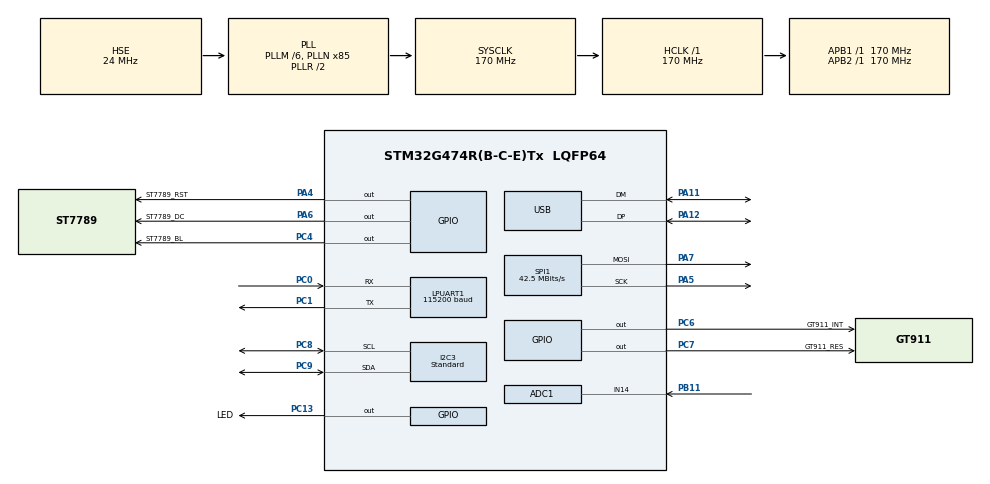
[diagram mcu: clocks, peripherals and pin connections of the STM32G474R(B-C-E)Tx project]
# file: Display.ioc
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ADC1.Channel-0\#ChannelRegularConversion=ADC_CHANNEL_14
ADC1.NbrOfConversionFlag=1
ADC1.OffsetNumber-0\#ChannelRegularConversion=ADC_OFFSET_NONE
ADC1.Rank-0\#ChannelRegularConversion=1
ADC1.SamplingTime-0\#ChannelRegularConversion=ADC_SAMPLETIME_2CYCLES_5
ADC1.master=1
Dma.LPUART1_TX.1.Direction=DMA_MEMORY_TO_PERIPH
Dma.LPUART1_TX.1.EventEnable=DISABLE
Dma.LPUART1_TX.1.Instance=DMA1_Channel2
Dma.LPUART1_TX.1.MemDataAlignment=DMA_MDATAALIGN_BYTE
Dma.LPUART1_TX.1.MemInc=DMA_MINC_ENABLE
Dma.LPUART1_TX.1.Mode=DMA_NORMAL
Dma.LPUART1_TX.1.PeriphDataAlignment=DMA_PDATAALIGN_BYTE
Dma.LPUART1_TX.1.PeriphInc=DMA_PINC_DISABLE
Dma.LPUART1_TX.1.Polarity=HAL_DMAMUX_REQ_GEN_RISING
Dma.LPUART1_TX.1.Priority=DMA_PRIORITY_VERY_HIGH
Dma.LPUART1_TX.1.RequestNumber=1
Dma.LPUART1_TX.1.SignalID=NONE
Dma.LPUART1_TX.1.SyncEnable=DISABLE
Dma.LPUART1_TX.1.SyncPolarity=HAL_DMAMUX_SYNC_NO_EVENT
Dma.LPUART1_TX.1.SyncRequestNumber=1
Dma.LPUART1_TX.1.SyncSignalID=NONE
Dma.Request0=SPI1_TX
Dma.Request1=LPUART1_TX
Dma.SPI1_TX.0.Direction=DMA_MEMORY_TO_PERIPH
Dma.SPI1_TX.0.EventEnable=DISABLE
Dma.SPI1_TX.0.Instance=DMA1_Channel1
Dma.SPI1_TX.0.MemDataAlignment=DMA_MDATAALIGN_BYTE
Dma.SPI1_TX.0.MemInc=DMA_MINC_ENABLE
Dma.SPI1_TX.0.Mode=DMA_NORMAL
Dma.SPI1_TX.0.PeriphDataAlignment=DMA_PDATAALIGN_BYTE
Dma.SPI1_TX.0.PeriphInc=DMA_PINC_DISABLE
Dma.SPI1_TX.0.Polarity=HAL_DMAMUX_REQ_GEN_RISING
Dma.SPI1_TX.0.Priority=DMA_PRIORITY_HIGH
Dma.SPI1_TX.0.RequestNumber=1
Dma.SPI1_TX.0.SignalID=NONE
Dma.SPI1_TX.0.SyncEnable=DISABLE
Dma.SPI1_TX.0.SyncPolarity=HAL_DMAMUX_SYNC_NO_EVENT
Dma.SPI1_TX.0.SyncRequestNumber=1
Dma.SPI1_TX.0.SyncSignalID=NONE
I2C3.I2C_Speed_Mode=I2C_Standard
I2C3.Timing=0x30A0A7FB
LPUART1.BaudRate=115200
Mcu.Family=STM32G4
Mcu.Name=STM32G474R(B-C-E)Tx
Mcu.Package=LQFP64
NVIC.DMA1_Channel1_IRQn=true\:2\:0\:true\:false\:true\:false\:true\:true
NVIC.DMA1_Channel2_IRQn=true\:4\:0\:true\:false\:true\:false\:true\:true
NVIC.PriorityGroup=NVIC_PRIORITYGROUP_4
NVIC.SPI1_IRQn=true\:1\:0\:true\:false\:true\:true\:true\:true
NVIC.USB_LP_IRQn=true\:0\:0\:false\:false\:true\:false\:true\:true
PA11.Mode=Device
PA11.Signal=USB_DM
PA12.Mode=Device
PA12.Signal=USB_DP
PA13.Mode=Serial_Wire
PA13.Signal=SYS_JTMS-SWDIO
PA14.Mode=Serial_Wire
PA14.Signal=SYS_JTCK-SWCLK
PA4.GPIO_Label=ST7789_RST
PA4.GPIO_PuPd=GPIO_PULLUP
PA4.GPIO_Speed=GPIO_SPEED_FREQ_VERY_HIGH
PA4.Signal=GPIO_Output
PA5.GPIO_PuPd=GPIO_PULLDOWN
PA5.GPIO_Speed=GPIO_SPEED_FREQ_VERY_HIGH
PA5.Mode=TX_Only_Simplex_Unidirect_Master
PA5.Signal=SPI1_SCK
PA6.GPIO_Label=ST7789_DC
PA6.GPIO_PuPd=GPIO_PULLUP
PA6.GPIO_Speed=GPIO_SPEED_FREQ_VERY_HIGH
PA6.PinState=GPIO_PIN_SET
PA6.Signal=GPIO_Output
PA7.GPIO_PuPd=GPIO_PULLDOWN
PA7.GPIO_Speed=GPIO_SPEED_FREQ_VERY_HIGH
PA7.Mode=TX_Only_Simplex_Unidirect_Master
PA7.Signal=SPI1_MOSI
PB11.Signal=SharedAnalog_PB11
PC0.Mode=Asynchronous
PC0.Signal=LPUART1_RX
PC1.Mode=Asynchronous
PC1.Signal=LPUART1_TX
PC13.GPIO_Label=LED
PC13.Signal=GPIO_Output
PC4.GPIO_Label=ST7789_BL
PC4.GPIO_PuPd=GPIO_PULLUP
PC4.Signal=GPIO_Output
PC6.GPIO_Label=GT911_INT
PC6.GPIO_Speed=GPIO_SPEED_FREQ_HIGH
PC6.Signal=GPIO_Output
PC7.GPIO_Label=GT911_RES
PC7.GPIO_PuPd=GPIO_PULLUP
PC7.GPIO_Speed=GPIO_SPEED_FREQ_HIGH
PC7.Signal=GPIO_Output
PC8.GPIO_Speed=GPIO_SPEED_FREQ_VERY_HIGH
PC8.Mode=I2C
PC8.Signal=I2C3_SCL
PC9.GPIO_Speed=GPIO_SPEED_FREQ_VERY_HIGH
PC9.Mode=I2C
PC9.Signal=I2C3_SDA
PF0-OSC_IN.Mode=HSE-External-Oscillator
PF0-OSC_IN.Signal=RCC_OSC_IN
PF1-OSC_OUT.Mode=HSE-External-Oscillator
PF1-OSC_OUT.Signal=RCC_OSC_OUT
ProjectManager.HeapSize=0x200
ProjectManager.StackSize=0x1000
ProjectManager.TargetToolchain=MDK-ARM V5.32
RCC.ADC12Freq_Value=170000000
RCC.ADC345Freq_Value=170000000
RCC.AHBFreq_Value=170000000
RCC.APB1Freq_Value=170000000
RCC.APB1TimFreq_Value=170000000
RCC.APB2Freq_Value=170000000
RCC.APB2TimFreq_Value=170000000
RCC.CK48CLockSelection=RCC_USBCLKSOURCE_HSI48
RCC.CortexFreq_Value=170000000
RCC.EXTERNAL_CLOCK_VALUE=12288000
RCC.HCLKFreq_Value=170000000
RCC.HSE_VALUE=24000000
RCC.HSI48_VALUE=48000000
RCC.HSI_VALUE=16000000
RCC.LSE_VALUE=32768
RCC.PLLM=RCC_PLLM_DIV6
RCC.PLLN=85
RCC.PLLSourceVirtual=RCC_PLLSOURCE_HSE
RCC.SYSCLKFreq_VALUE=170000000
RCC.SYSCLKSource=RCC_SYSCLKSOURCE_PLLCLK
RCC.USBFreq_Value=48000000
RCC.VCOOutputFreq_Value=340000000
SH.SharedAnalog_PB11.0=GPIO_Analog
SH.SharedAnalog_PB11.1=ADC1_IN14,IN14-Single-Ended
SPI1.BaudRatePrescaler=SPI_BAUDRATEPRESCALER_4
SPI1.CLKPhase=SPI_PHASE_1EDGE
SPI1.CLKPolarity=SPI_POLARITY_HIGH
SPI1.CalculateBaudRate=42.5 MBits/s
SPI1.DataSize=SPI_DATASIZE_8BIT
SPI1.Direction=SPI_DIRECTION_2LINES
SPI1.Mode=SPI_MODE_MASTER
SPI1.VirtualType=VM_MASTER
USB_DEVICE.CLASS_NAME_FS=CDC
USB_DEVICE.MANUFACTURER_STRING=VirtualCOM
USB_DEVICE.VirtualMode=Cdc
USB_DEVICE.VirtualModeFS=Cdc_FS
VP_SYS_VS_DBSignals.Mode=DisableDeadBatterySignals
VP_USB_DEVICE_VS_USB_DEVICE_CDC_FS.Mode=CDC_FS
board=custom

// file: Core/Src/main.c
/* USER CODE BEGIN Header */
/**
  ******************************************************************************
  * @file           : main.c
  * @brief          : Main program body
  ******************************************************************************
  * @attention
  *
  * Copyright (c) 2024 STMicroelectronics.
  * All rights reserved.
  *
  * This software is licensed under terms that can be found in the LICENSE file
  * in the root directory of this software component.
  * If no LICENSE file comes with this software, it is provided AS-IS.
  *
  ******************************************************************************
  */
/* USER CODE END Header */
#include "main.h"
#include "adc.h"
#include "dma.h"
#include "i2c.h"
#include "usart.h"
#include "spi.h"
#include "usb_device.h"
#include "gpio.h"

/* USER CODE BEGIN Includes */
#include "st7789.h"
#include "gt911.h"
#include "usbd_cdc_if.h"
#include <stdio.h>
#include <string.h>
/* USER CODE END Includes */

/* USER CODE BEGIN PV */
static uint8_t txBuffer[100];
uint8_t flagTouch = 0;
uint16_t touchPoint[2]; // {x,y}
/* USER CODE END PV */

void SystemClock_Config(void);

int main(void)
{

  /* MCU Configuration--------------------------------------------------------*/

  /* Reset of all peripherals, Initializes the Flash interface and the Systick. */
  HAL_Init();

  /* Configure the system clock */
  SystemClock_Config();

  /* Initialize all configured peripherals */
  MX_GPIO_Init();
  MX_DMA_Init();
  MX_SPI1_Init();
  MX_ADC1_Init();
  MX_I2C3_Init();
  MX_LPUART1_UART_Init();
  MX_USB_Device_Init();
  /* USER CODE BEGIN 2 */
	//HAL_Delay(3000);

	sprintf((char *)txBuffer, "Init: ST7789\n");
	CDC_Transmit_FS(txBuffer, strlen((char *)txBuffer));
	ST7789_Init();
	HAL_GPIO_TogglePin(LED_GPIO_Port, LED_Pin);

	sprintf((char *)txBuffer, "Init: GT911\n");
	CDC_Transmit_FS(txBuffer, strlen((char *)txBuffer));
	GTP_Init();
	HAL_GPIO_TogglePin(LED_GPIO_Port, LED_Pin);

  /* USER CODE END 2 */

  /* Infinite loop */
  /* USER CODE BEGIN WHILE */
  while (1)
  {
		GTP911_Test();
		if(flagTouch){
			flagTouch = 0;
			ST7789_DrawPixel_4px(touchPoint[0], touchPoint[1], WHITE);
		}
		//HAL_Delay(500);
    /* USER CODE END WHILE */

  }
}

void SystemClock_Config(void)
{
  RCC_OscInitTypeDef RCC_OscInitStruct = {0};
  RCC_ClkInitTypeDef RCC_ClkInitStruct = {0};

  /** Configure the main internal regulator output voltage
  */
  HAL_PWREx_ControlVoltageScaling(PWR_REGULATOR_VOLTAGE_SCALE1_BOOST);

  /** Initializes the RCC Oscillators according to the specified parameters
  * in the RCC_OscInitTypeDef structure.
  */
  RCC_OscInitStruct.OscillatorType = RCC_OSCILLATORTYPE_HSI48|RCC_OSCILLATORTYPE_HSE;
  RCC_OscInitStruct.HSEState = RCC_HSE_ON;
  RCC_OscInitStruct.HSI48State = RCC_HSI48_ON;
  RCC_OscInitStruct.PLL.PLLState = RCC_PLL_ON;
  RCC_OscInitStruct.PLL.PLLSource = RCC_PLLSOURCE_HSE;
  RCC_OscInitStruct.PLL.PLLM = RCC_PLLM_DIV6;
  RCC_OscInitStruct.PLL.PLLN = 85;
  RCC_OscInitStruct.PLL.PLLP = RCC_PLLP_DIV2;
  RCC_OscInitStruct.PLL.PLLQ = RCC_PLLQ_DIV2;
  RCC_OscInitStruct.PLL.PLLR = RCC_PLLR_DIV2;
  if (HAL_RCC_OscConfig(&RCC_OscInitStruct) != HAL_OK)
  {
    Error_Handler();
  }

  /** Initializes the CPU, AHB and APB buses clocks
  */
  RCC_ClkInitStruct.ClockType = RCC_CLOCKTYPE_HCLK|RCC_CLOCKTYPE_SYSCLK
                              |RCC_CLOCKTYPE_PCLK1|RCC_CLOCKTYPE_PCLK2;
  RCC_ClkInitStruct.SYSCLKSource = RCC_SYSCLKSOURCE_PLLCLK;
  RCC_ClkInitStruct.AHBCLKDivider = RCC_SYSCLK_DIV1;
  RCC_ClkInitStruct.APB1CLKDivider = RCC_HCLK_DIV1;
  RCC_ClkInitStruct.APB2CLKDivider = RCC_HCLK_DIV1;

  if (HAL_RCC_ClockConfig(&RCC_ClkInitStruct, FLASH_LATENCY_4) != HAL_OK)
  {
    Error_Handler();
  }
}

void Error_Handler(void)
{
  __disable_irq();
  while (1)
  {
  }
}
